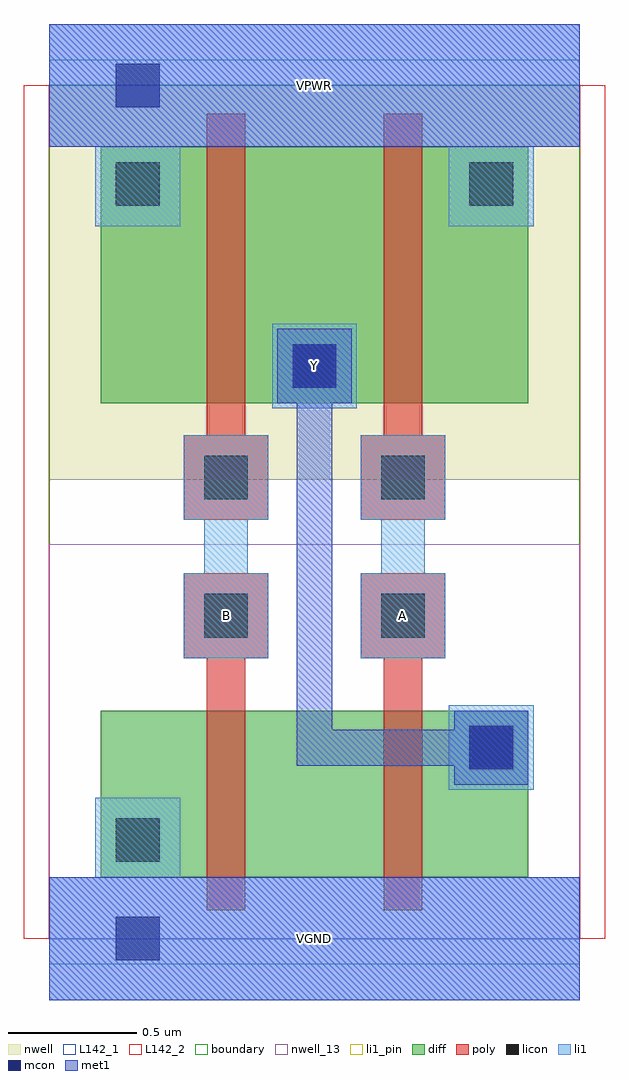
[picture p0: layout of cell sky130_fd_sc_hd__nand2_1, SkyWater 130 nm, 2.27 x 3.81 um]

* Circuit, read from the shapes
.subckt sky130_fd_sc_hd__nand2_1 A B VGND VPWR Y
XM1 n1 B VGND VSUBS sky130_fd_pr__nfet_01v8 w=0.65 l=0.15
XM2 Y A n1 VSUBS sky130_fd_pr__nfet_01v8 w=0.65 l=0.15
XM3 Y B VPWR n2 sky130_fd_pr__pfet_01v8 w=1 l=0.15
XM4 VPWR A Y n2 sky130_fd_pr__pfet_01v8 w=1 l=0.15
.ends

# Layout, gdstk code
import gdstk
lib = gdstk.Library(unit=1e-6, precision=1e-09)
def R(c, l, rs):  # rectangles x0, y0, x1, y1
    for r in rs: c.add(gdstk.rectangle(r[:2], r[2:], *l))
def P(c, l, *ps):  # polygons
    for p in ps: c.add(gdstk.Polygon(p, *l))
nwell_13 = (64, 13)
nwell = (64, 20)
diff = (65, 20)
poly = (66, 20)
licon = (66, 44)
li1_pin = (67, 16)
li1 = (67, 20)
mcon = (67, 44)
met1 = (68, 20)
L142_1 = (142, 1)
L142_2 = (142, 2)
boundary = (235, 4)

sky130_fd_sc_hd__nand2_1 = lib.new_cell('sky130_fd_sc_hd__nand2_1')
R(sky130_fd_sc_hd__nand2_1, nwell_13, [(0,0,2.07,1.54)])
R(sky130_fd_sc_hd__nand2_1, nwell, [(0,1.79,2.07,3.33)])
R(sky130_fd_sc_hd__nand2_1, diff, [(0.2,0.24,1.87,0.89), (0.2,0.24,0.615,0.89), (0.615,0.24,1.305,0.89), (1.305,0.24,1.87,0.89), (0.2,2.09,1.87,3.09), (0.2,2.09,0.615,3.09), (0.615,2.09,1.305,3.09), (1.305,2.09,1.87,3.09)])
P(sky130_fd_sc_hd__nand2_1, poly, [(0.615,0.11),(0.615,1.095),(0.525,1.095),(0.525,1.425),(0.855,1.425),(0.855,1.095),(0.765,1.095),(0.765,0.11)],
  [(0.525,1.635),(0.525,1.965),(0.615,1.965),(0.615,3.22),(0.765,3.22),(0.765,1.965),(0.855,1.965),(0.855,1.635)],
  [(1.305,0.11),(1.305,1.095),(1.215,1.095),(1.215,1.425),(1.545,1.425),(1.545,1.095),(1.455,1.095),(1.455,0.11)],
  [(1.215,1.635),(1.215,1.965),(1.305,1.965),(1.305,3.22),(1.455,3.22),(1.455,1.965),(1.545,1.965),(1.545,1.635)])
R(sky130_fd_sc_hd__nand2_1, licon, [(0.26,0.3,0.43,0.47), (1.64,0.66,1.81,0.83), (0.605,1.175,0.775,1.345), (1.295,1.175,1.465,1.345), (0.605,1.715,0.775,1.885), (1.295,1.715,1.465,1.885), (0.95,2.15,1.12,2.32), (0.26,2.86,0.43,3.03), (1.64,2.86,1.81,3.03)])
R(sky130_fd_sc_hd__nand2_1, li1_pin, [(0,-0.24,2.07,0.24), (0.87,2.07,1.2,2.4), (0,3.09,2.07,3.57)])
P(sky130_fd_sc_hd__nand2_1, li1_pin, [(1.215,1.095),(1.215,1.425),(1.295,1.425),(1.295,1.635),(1.215,1.635),(1.215,1.965),(1.545,1.965),(1.545,1.635),(1.465,1.635),(1.465,1.425),(1.545,1.425),(1.545,1.095)],
  [(0.525,1.095),(0.525,1.425),(0.605,1.425),(0.605,1.635),(0.525,1.635),(0.525,1.965),(0.855,1.965),(0.855,1.635),(0.775,1.635),(0.775,1.425),(0.855,1.425),(0.855,1.095)])
R(sky130_fd_sc_hd__nand2_1, li1, [(1.56,0.58,1.89,0.91), (0.87,2.07,1.2,2.4)])
P(sky130_fd_sc_hd__nand2_1, li1, [(0.525,1.095),(0.525,1.425),(0.605,1.425),(0.605,1.635),(0.525,1.635),(0.525,1.965),(0.855,1.965),(0.855,1.635),(0.775,1.635),(0.775,1.425),(0.855,1.425),(0.855,1.095)],
  [(0.18,2.78),(0.18,3.09),(0,3.09),(0,3.57),(2.07,3.57),(2.07,3.09),(1.89,3.09),(1.89,2.78),(1.56,2.78),(1.56,3.09),(0.51,3.09),(0.51,2.78)],
  [(0,-0.24),(0,0.24),(0.18,0.24),(0.18,0.55),(0.51,0.55),(0.51,0.24),(2.07,0.24),(2.07,-0.24)],
  [(1.215,1.095),(1.215,1.425),(1.295,1.425),(1.295,1.635),(1.215,1.635),(1.215,1.965),(1.545,1.965),(1.545,1.635),(1.465,1.635),(1.465,1.425),(1.545,1.425),(1.545,1.095)])
R(sky130_fd_sc_hd__nand2_1, mcon, [(0.26,-0.085,0.43,0.085), (1.64,0.66,1.81,0.83), (0.95,2.15,1.12,2.32), (0.26,3.245,0.43,3.415)])
R(sky130_fd_sc_hd__nand2_1, met1, [(0,-0.24,2.07,0.24), (0,3.09,2.07,3.57)])
P(sky130_fd_sc_hd__nand2_1, met1, [(1.58,0.6),(1.58,0.675),(0.965,0.675),(0.965,2.09),(0.89,2.09),(0.89,2.38),(1.18,2.38),(1.18,2.09),(1.105,2.09),(1.105,0.815),(1.58,0.815),(1.58,0.89),(1.87,0.89),(1.87,0.6)])
R(sky130_fd_sc_hd__nand2_1, L142_1, [(0,-0.1,2.07,0), (0,3.33,2.07,3.43)])
R(sky130_fd_sc_hd__nand2_1, L142_2, [(-0.1,0,0,3.33), (2.07,0,2.17,3.33)])
R(sky130_fd_sc_hd__nand2_1, boundary, [(0,0,2.07,3.33)])
sky130_fd_sc_hd__nand2_1.add(gdstk.Label('Y', (1.035,2.235), layer=67, texttype=5))
sky130_fd_sc_hd__nand2_1.add(gdstk.Label('A', (1.38,1.26), layer=67, texttype=5))
sky130_fd_sc_hd__nand2_1.add(gdstk.Label('B', (0.69,1.26), layer=67, texttype=5))
sky130_fd_sc_hd__nand2_1.add(gdstk.Label('VGND', (1.035,0), layer=67, texttype=5))
sky130_fd_sc_hd__nand2_1.add(gdstk.Label('VPWR', (1.035,3.33), layer=67, texttype=5))
sky130_fd_sc_hd__nand2_1.add(gdstk.Label('VGND', (1.035,0), layer=68, texttype=5))
sky130_fd_sc_hd__nand2_1.add(gdstk.Label('VPWR', (1.035,3.33), layer=68, texttype=5))

lib.write_gds('sky130_fd_sc_hd__nand2_1.gds')
